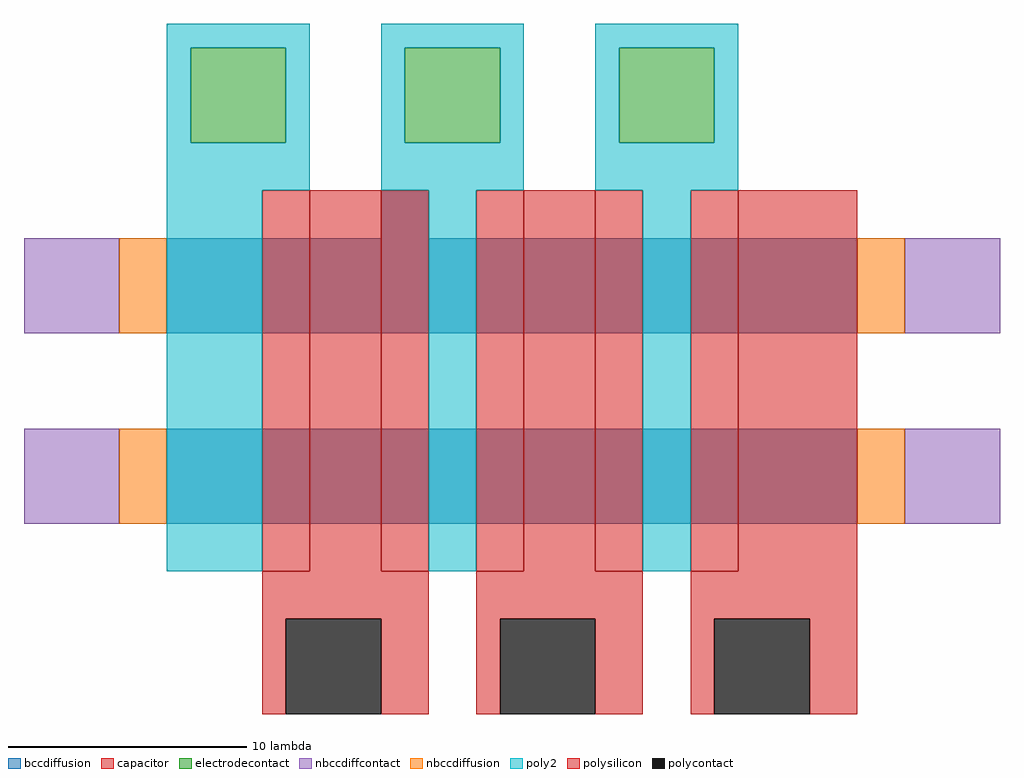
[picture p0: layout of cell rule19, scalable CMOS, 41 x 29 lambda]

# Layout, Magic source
magic
tech scmos
<< polysilicon >>
rect 12 -2 15 14
rect 21 -2 24 14
rect 30 -2 35 14
rect 10 -4 17 -2
rect 10 -8 11 -4
rect 15 -8 17 -4
rect 19 -4 26 -2
rect 19 -8 20 -4
rect 24 -8 26 -4
rect 28 -4 35 -2
rect 28 -8 29 -4
rect 33 -8 35 -4
<< poly2 >>
rect 6 20 12 21
rect 6 16 7 20
rect 11 16 12 20
rect 6 14 12 16
rect 15 20 21 21
rect 15 16 16 20
rect 20 16 21 20
rect 15 14 21 16
rect 24 20 30 21
rect 24 16 25 20
rect 29 16 30 20
rect 24 14 30 16
rect 6 -2 10 14
rect 17 -2 19 14
rect 26 -2 28 14
<< capacitor >>
rect 10 -2 12 14
rect 15 -2 17 14
rect 19 -2 21 14
rect 24 -2 26 14
rect 28 -2 30 14
<< bccdiffusion >>
rect 15 12 17 14
rect 6 8 35 12
rect 6 0 35 4
<< nbccdiffusion >>
rect 4 8 6 12
rect 4 0 6 4
rect 35 8 37 12
rect 35 0 37 4
<< polycontact >>
rect 11 -8 15 -4
rect 20 -8 24 -4
rect 29 -8 33 -4
<< electrodecontact >>
rect 7 16 11 20
rect 16 16 20 20
rect 25 16 29 20
<< nbccdiffcontact >>
rect 0 8 4 12
rect 0 0 4 4
rect 37 8 41 12
rect 37 0 41 4
<< end >>
